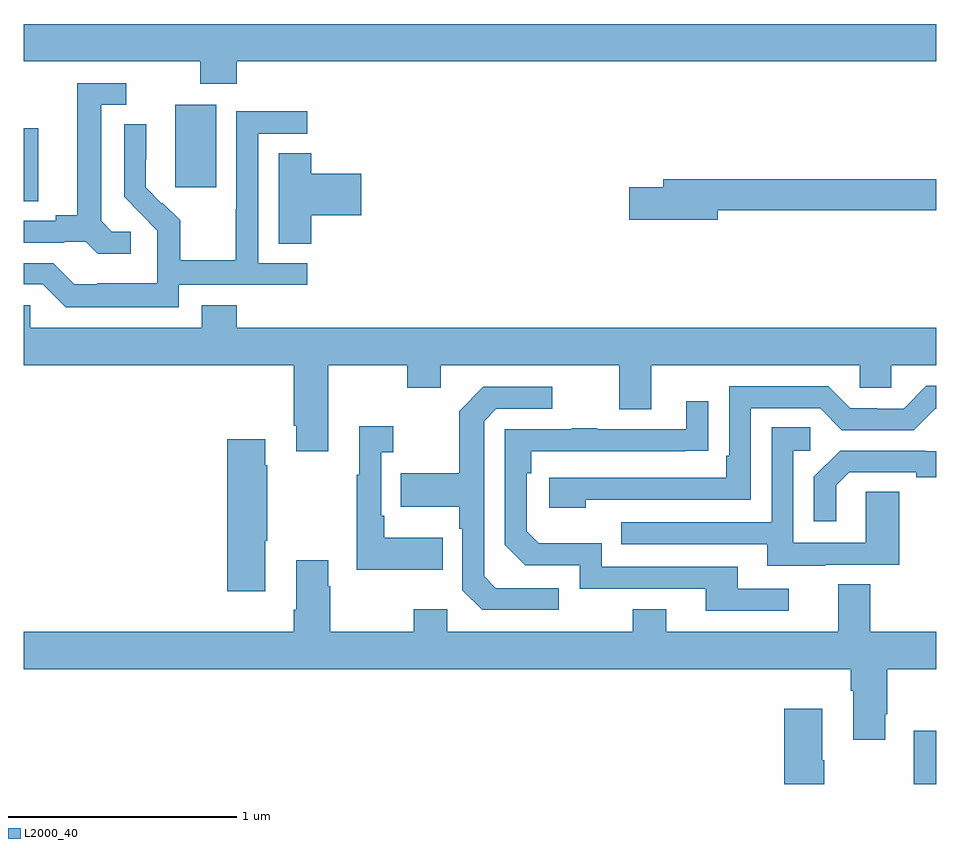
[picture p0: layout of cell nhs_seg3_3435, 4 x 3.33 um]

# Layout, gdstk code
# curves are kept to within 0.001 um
import gdstk
lib = gdstk.Library(unit=1e-6, precision=1e-09)
def R(c, l, rs):  # rectangles x0, y0, x1, y1
    for r in rs: c.add(gdstk.rectangle(r[:2], r[2:], *l))
def P(c, l, *ps):  # polygons
    for p in ps: c.add(gdstk.Polygon(p, *l))
L2000_40 = (2000, 40)

nhs_seg3_3435 = lib.new_cell('nhs_seg3_3435')
R(nhs_seg3_3435, L2000_40, [(292.902,712.4,293,712.633), (289,714.955,289.063,715.275), (289.664,715.017,289.843,715.378)])
P(nhs_seg3_3435, L2000_40, [(289.934,715.568),(293,715.568),(293,715.732),(289,715.732),(289,715.568),(289.774,715.568),(289.774,715.469),(289.934,715.469)],
  [(289.468,714.822),(289.386,714.822),(289.339,714.869),(289.339,715.377),(289.45,715.377),(289.45,715.473),(289.235,715.473),(289.235,714.893),(289.139,714.893),(289.139,714.87),(289,714.87),(289,714.774),(289.178,714.774),(289.178,714.777),(289.272,714.777),(289.324,714.725),(289.468,714.725)],
  [(289.68,714.588),(290.242,714.588),(290.242,714.684),(290.028,714.684),(290.028,715.251),(290.242,715.251),(290.242,715.35),(289.932,715.35),(289.932,714.92),(289.93,714.92),(289.93,714.697),(289.685,714.697),(289.685,714.871),(289.608,714.948),(289.605,714.945),(289.535,715.016),(289.536,715.292),(289.44,715.292),(289.44,714.974),(289.586,714.826),(289.586,714.729),(289.584,714.729),(289.584,714.595),(289.321,714.595),(289.321,714.591),(289.221,714.591),(289.128,714.684),(289,714.684),(289,714.591),(289.083,714.591),(289.183,714.491),(289.68,714.491)],
  [(290.261,714.893),(290.479,714.893),(290.479,715.076),(290.261,715.076),(290.261,715.166),(290.117,715.166),(290.117,714.769),(290.261,714.769)],
  [(292.042,714.916),(293,714.916),(293,715.052),(291.803,715.052),(291.803,715.016),(291.654,715.016),(291.654,714.874),(292.042,714.874)],
  [(290.335,714.236),(290.68,714.236),(290.68,714.137),(290.827,714.137),(290.827,714.236),(291.611,714.236),(291.611,714.042),(291.751,714.042),(291.751,714.236),(292.665,714.236),(292.665,714.138),(292.803,714.138),(292.803,714.236),(293,714.236),(293,714.4),(289.934,714.4),(289.934,714.499),(289.781,714.499),(289.781,714.4),(289.029,714.4),(289.029,714.498),(289,714.498),(289,714.236),(290.183,714.236),(290.183,713.971),(290.195,713.971),(290.195,713.859),(290.335,713.859)],
  [(291.464,713.646),(292.188,713.646),(292.188,714.048),(292.491,714.048),(292.587,713.952),(292.902,713.952),(292.995,714.045),(293,714.045),(293,714.145),(292.957,714.145),(292.857,714.045),(292.742,714.045),(292.742,714.048),(292.623,714.048),(292.527,714.144),(292.092,714.144),(292.092,713.839),(292.079,713.839),(292.079,713.742),(291.303,713.742),(291.303,713.612),(291.464,713.612)],
  [(291.346,713.259),(291.069,713.259),(291.018,713.31),(291.018,713.991),(291.072,714.045),(291.316,714.045),(291.316,714.141),(291.015,714.141),(290.91,714.035),(290.91,713.763),(290.653,713.763),(290.653,713.615),(290.91,713.615),(290.91,713.519),(290.922,713.519),(290.922,713.25),(291.009,713.163),(291.346,713.163)],
  [(292.354,713.256),(292.129,713.256),(292.129,713.352),(291.534,713.352),(291.534,713.455),(291.257,713.455),(291.204,713.508),(291.204,713.762),(291.224,713.762),(291.224,713.859),(292.001,713.86),(292.001,714.079),(291.905,714.079),(291.905,713.955),(291.515,713.955),(291.515,713.96),(291.403,713.96),(291.403,713.955),(291.108,713.955),(291.108,713.448),(291.198,713.358),(291.438,713.358),(291.438,713.256),(291.989,713.256),(291.989,713.16),(292.354,713.16)],
  [(290.837,713.479),(290.581,713.479),(290.581,713.575),(290.568,713.575),(290.568,713.855),(290.62,713.855),(290.62,713.968),(290.471,713.968),(290.471,713.755),(290.46,713.755),(290.46,713.339),(290.837,713.339)],
  [(292.513,713.361),(292.837,713.361),(292.837,713.681),(292.692,713.681),(292.692,713.457),(292.374,713.457),(292.374,713.862),(292.447,713.862),(292.447,713.963),(292.278,713.963),(292.278,713.547),(291.619,713.547),(291.619,713.451),(292.259,713.451),(292.259,713.357),(292.513,713.357)],
  [(290.059,713.467),(290.067,713.467),(290.067,713.798),(290.059,713.798),(290.059,713.911),(289.892,713.911),(289.892,713.244),(290.059,713.244)],
  [(292.561,713.709),(292.618,713.766),(292.913,713.766),(292.913,713.744),(293,713.744),(293,713.859),(292.952,713.859),(292.952,713.862),(292.58,713.862),(292.464,713.746),(292.464,713.553),(292.561,713.553)],
  [(292.777,712.705),(292.785,712.705),(292.785,712.904),(293,712.904),(293,713.068),(292.711,713.068),(292.711,713.276),(292.571,713.276),(292.571,713.068),(291.817,713.068),(291.817,713.167),(291.67,713.167),(291.67,713.068),(290.856,713.068),(290.856,713.167),(290.71,713.167),(290.71,713.068),(290.343,713.068),(290.343,713.267),(290.335,713.267),(290.335,713.38),(290.195,713.38),(290.195,713.164),(290.183,713.164),(290.183,713.068),(289,713.068),(289,712.904),(292.625,712.904),(292.625,712.808),(292.637,712.808),(292.637,712.593),(292.777,712.593)],
  [(292.509,712.505),(292.501,712.505),(292.501,712.729),(292.334,712.729),(292.334,712.4),(292.509,712.4)])

lib.write_gds('nhs_seg3_3435.gds')
